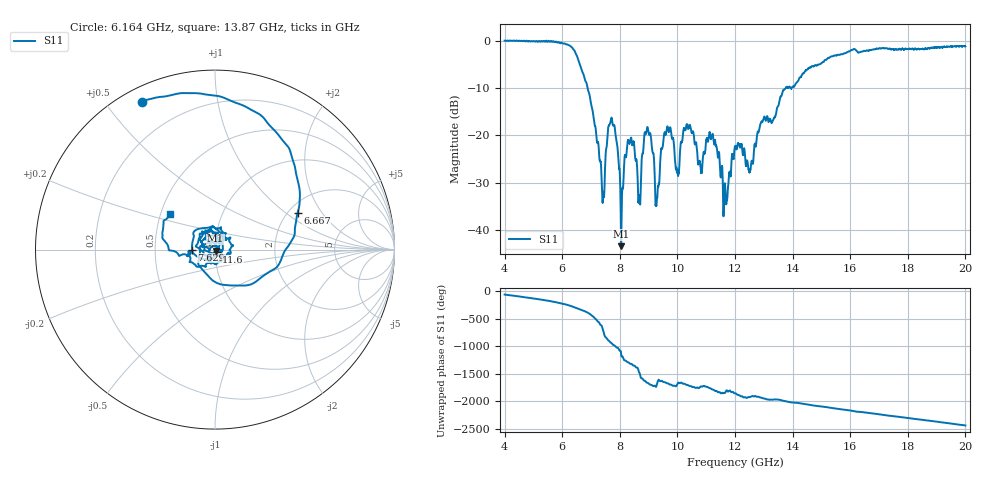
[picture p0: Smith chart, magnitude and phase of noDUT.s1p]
[Version] 2.0
! Rohde & Schwarz Vector Network Analyzer
! Rohde-Schwarz,ZNL20-2Port,1323001220200009,1.71.1.10-23.02.1.238
! Port Assignments:
! Nominal Port -> Actual Test Port
!  1 -> 1
! Created: GMT+2 2025-01-17 12:52:12
# Hz S RI R 50
[Number of Ports] 1
! freq[Hz]  S11[Re]  S11[Im]
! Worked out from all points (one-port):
!   16001 points, 4 GHz to 20 GHz, reference 50 ohm
!   lowest |S11| = -43.4 dB at 8.045 GHz (marker M1), VSWR 1.01, Z = 50.3 - j0.592 ohm
!   |S11| at or under -10 dB: 6.882 GHz to 13.76 GHz (6.874 GHz wide, 66.6 % of centre); 13.93728 GHz to 13.96662 GHz (29.34 MHz wide, 0.21 % of centre)
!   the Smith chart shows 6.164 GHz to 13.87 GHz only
!   S11 on the Smith chart (normalised r, x): 6.164 GHz: 0.06, +0.62; 6.667 GHz: 2.24, +1.23; 7.629 GHz: 0.77, +0.00; 11.6 GHz: 1.02, -0.02; 13.87 GHz: 0.56, +0.25
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[Number of Frequencies] 28
[Network Data]
4e9  0.5567 -0.8362
4.941e9  -0.555 -0.8243
5.565e9  -0.9748 -0.1001
6e9  -0.726 0.6083
6.164e9  -0.4078 0.8236
6.667e9  0.4599 0.2047
7.403e9  0.0163 0.0105
7.629e9  -0.1281 0.000423
8e9  0.0397 -0.00128
8.045e9  0.00331 -0.00588
8.343e9  -0.0505 0.0656
8.685e9  0.0143 -0.0165
8.929e9  -0.0855 0.0704
9.293e9  -0.00842 0.0204
9.608e9  -0.0698 0.0797
1e10  -0.0164 0.0397
1.0384e10  0.00756 0.1173
1.1599e10  0.00926 -0.0111
1.2e10  0.0416 -0.0637
1.2544e10  -0.0236 -0.0383
1.3873e10  -0.2518 0.2009
1.4e10  -0.2319 0.2314
1.5099e10  0.347 0.506
1.6e10  0.7731 -0.1436
1.7071e10  0.0715 -0.8242
1.8e10  -0.6951 -0.4386
1.8896e10  -0.7495 0.3892
2e10  0.2051 0.848
[End]
